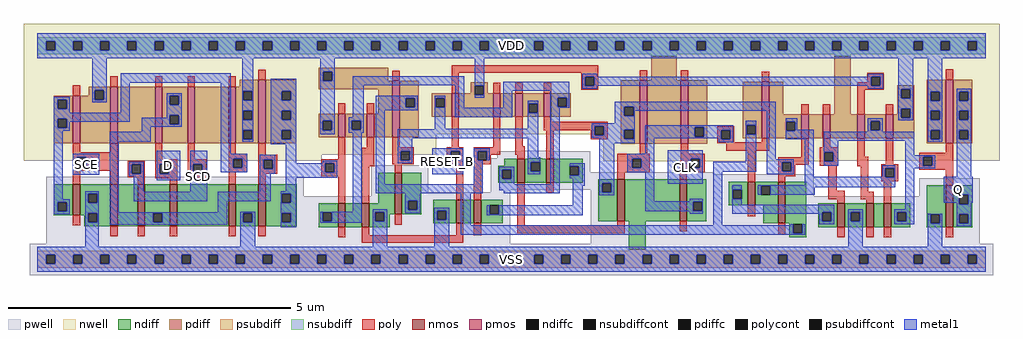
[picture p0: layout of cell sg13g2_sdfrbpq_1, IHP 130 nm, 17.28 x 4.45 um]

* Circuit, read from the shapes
.subckt sg13g2_sdfrbpq_1 VSS RESET_B D VDD CLK Q SCD SCE
XM1 VSS SCE n1 VSS sg13_lv_nmos w=0.55u l=0.13u
XM2 n2 SCE VSS VSS sg13_lv_nmos w=0.74u l=0.13u
XM3 n3 SCD n2 VSS sg13_lv_nmos w=0.74u l=0.13u
XM4 n4 D n3 VSS sg13_lv_nmos w=0.74u l=0.13u
XM5 VSS n1 n4 VSS sg13_lv_nmos w=0.74u l=0.13u
XM6 n5 n3 VSS VSS sg13_lv_nmos w=0.74u l=0.13u
XM7 n6 n5 n7 VSS sg13_lv_nmos w=0.42u l=0.13u
XM8 VSS RESET_B n6 VSS sg13_lv_nmos w=0.42u l=0.13u
XM9 n8 n9 VSS VSS sg13_lv_nmos w=0.74u l=0.13u
XM10 n10 RESET_B VSS VSS sg13_lv_nmos w=0.42u l=0.13u
XM11 n11 n8 n10 VSS sg13_lv_nmos w=0.42u l=0.13u
XM12 n9 n12 n7 VSS sg13_lv_nmos w=0.42u l=0.13u
XM13 n11 n13 n9 VSS sg13_lv_nmos w=0.42u l=0.13u
XM14 VSS n12 n13 VSS sg13_lv_nmos w=0.74u l=0.13u
XM15 n12 CLK VSS VSS sg13_lv_nmos w=0.74u l=0.13u
XM16 n14 n12 n15 VSS sg13_lv_nmos w=0.42u l=0.13u
XM17 n8 n13 n14 VSS sg13_lv_nmos w=0.74u l=0.13u
XM18 VSS n16 n15 VSS sg13_lv_nmos w=0.42u l=0.13u
XM19 n17 RESET_B VSS VSS sg13_lv_nmos w=0.42u l=0.13u
XM20 n16 n14 n17 VSS sg13_lv_nmos w=0.42u l=0.13u
XM21 Q n16 VSS VSS sg13_lv_nmos w=0.74u l=0.13u
XM22 VDD SCE n1 VDD sg13_lv_pmos w=0.84u l=0.13u
XM23 n18 SCE VDD VDD sg13_lv_pmos w=1u l=0.13u
XM24 n3 D n18 VDD sg13_lv_pmos w=1u l=0.13u
XM25 n19 SCD n3 VDD sg13_lv_pmos w=1u l=0.13u
XM26 VDD n1 n19 VDD sg13_lv_pmos w=1u l=0.13u
XM27 n5 n3 VDD VDD sg13_lv_pmos w=1.12u l=0.13u
XM28 n7 n5 VDD VDD sg13_lv_pmos w=0.42u l=0.13u
XM29 VDD RESET_B n7 VDD sg13_lv_pmos w=0.42u l=0.13u
XM30 n8 n9 VDD VDD sg13_lv_pmos w=1u l=0.13u
XM31 VDD RESET_B n9 VDD sg13_lv_pmos w=0.42u l=0.13u
XM32 n20 n8 VDD VDD sg13_lv_pmos w=0.42u l=0.13u
XM33 n9 n12 n20 VDD sg13_lv_pmos w=0.42u l=0.13u
XM34 n7 n13 n9 VDD sg13_lv_pmos w=0.42u l=0.13u
XM35 VDD n12 n13 VDD sg13_lv_pmos w=1.12u l=0.13u
XM36 n12 CLK VDD VDD sg13_lv_pmos w=1.12u l=0.13u
XM37 n14 n12 n8 VDD sg13_lv_pmos w=1u l=0.13u
XM38 n21 n13 n14 VDD sg13_lv_pmos w=0.42u l=0.13u
XM39 VDD n16 n21 VDD sg13_lv_pmos w=0.42u l=0.13u
XM40 n16 RESET_B VDD VDD sg13_lv_pmos w=0.42u l=0.13u
XM41 VDD n14 n16 VDD sg13_lv_pmos w=0.42u l=0.13u
XM42 Q n16 VDD VDD sg13_lv_pmos w=1.12u l=0.13u
.ends

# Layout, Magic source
magic
tech ihp-sg13g2
magscale 1 2
<< nwell >>
rect -48 443 3408 834
rect -48 370 1414 443
rect -48 350 1008 370
rect 2004 350 3408 443
rect 2004 348 2787 350
<< pwell >>
rect 1715 382 1815 384
rect 1629 358 1958 382
rect 33 224 945 292
rect 1183 237 1386 333
rect 1607 309 1958 358
rect 1607 301 2395 309
rect 1607 246 2750 301
rect 1607 237 1675 246
rect 1183 224 1675 237
rect 33 56 1675 224
rect 1961 224 2750 246
rect 3124 224 3338 288
rect 1961 56 3338 224
rect -26 -56 3386 56
<< nmos >>
rect 127 156 153 266
rect 259 118 285 266
rect 356 118 382 266
rect 470 118 496 266
rect 678 118 704 266
rect 784 118 810 266
rect 1066 114 1092 198
rect 1150 114 1176 198
rect 1266 159 1292 307
rect 1701 272 1727 356
rect 1803 272 1829 356
rect 1484 127 1510 211
rect 1547 127 1573 211
rect 2055 135 2081 283
rect 2275 135 2301 283
rect 2517 191 2543 275
rect 2624 127 2650 275
rect 2834 114 2860 198
rect 2936 114 2962 198
rect 2998 114 3024 198
rect 3218 114 3244 262
<< pmos >>
rect 127 412 153 580
rect 259 412 285 612
rect 418 412 444 612
rect 533 412 559 612
rect 678 412 704 612
rect 784 412 810 636
rect 1066 432 1092 516
rect 1168 432 1194 516
rect 1258 432 1284 632
rect 1468 505 1494 589
rect 1615 505 1641 589
rect 1693 505 1719 589
rect 1795 505 1821 589
rect 2135 410 2161 634
rect 2280 410 2306 634
rect 2567 429 2593 629
rect 2706 429 2732 513
rect 2782 429 2808 513
rect 2904 429 2930 513
rect 3006 429 3032 513
rect 3218 412 3244 636
<< ndiff >>
rect 59 202 127 266
rect 59 170 73 202
rect 105 170 127 202
rect 59 156 127 170
rect 153 232 259 266
rect 153 200 181 232
rect 213 200 259 232
rect 153 164 259 200
rect 153 156 181 164
rect 167 132 181 156
rect 213 132 259 164
rect 167 118 259 132
rect 285 118 356 266
rect 382 164 470 266
rect 382 132 412 164
rect 444 132 470 164
rect 382 118 470 132
rect 496 118 678 266
rect 704 164 784 266
rect 704 132 730 164
rect 762 132 784 164
rect 704 118 784 132
rect 810 232 919 266
rect 810 200 866 232
rect 898 200 919 232
rect 810 164 919 200
rect 1209 198 1266 307
rect 810 132 866 164
rect 898 132 919 164
rect 810 118 919 132
rect 998 167 1066 198
rect 998 135 1012 167
rect 1044 135 1066 167
rect 998 114 1066 135
rect 1092 114 1150 198
rect 1176 167 1266 198
rect 1176 135 1198 167
rect 1230 159 1266 167
rect 1292 208 1360 307
rect 1741 356 1789 358
rect 1655 332 1701 356
rect 1633 318 1701 332
rect 1633 286 1647 318
rect 1679 286 1701 318
rect 1633 272 1701 286
rect 1727 344 1803 356
rect 1727 312 1749 344
rect 1781 312 1803 344
rect 1727 272 1803 312
rect 1829 330 1932 356
rect 1829 298 1886 330
rect 1918 298 1932 330
rect 1829 272 1932 298
rect 1292 176 1314 208
rect 1346 176 1360 208
rect 1292 159 1360 176
rect 1403 173 1484 211
rect 1230 135 1249 159
rect 1176 114 1249 135
rect 1403 141 1417 173
rect 1449 141 1484 173
rect 1403 127 1484 141
rect 1510 127 1547 211
rect 1573 191 1649 211
rect 1573 159 1603 191
rect 1635 159 1649 191
rect 1573 127 1649 159
rect 1987 269 2055 283
rect 1987 237 2001 269
rect 2033 237 2055 269
rect 1987 135 2055 237
rect 2081 135 2275 283
rect 2301 204 2369 283
rect 2301 172 2323 204
rect 2355 172 2369 204
rect 2449 247 2517 275
rect 2449 215 2463 247
rect 2495 215 2517 247
rect 2449 191 2517 215
rect 2543 261 2624 275
rect 2543 229 2565 261
rect 2597 229 2624 261
rect 2543 191 2624 229
rect 2301 135 2369 172
rect 2096 36 2156 135
rect 2572 127 2624 191
rect 2650 127 2724 275
rect 2664 124 2724 127
rect 2664 92 2678 124
rect 2710 92 2724 124
rect 2766 167 2834 198
rect 2766 135 2780 167
rect 2812 135 2834 167
rect 2766 114 2834 135
rect 2860 167 2936 198
rect 2860 135 2882 167
rect 2914 135 2936 167
rect 2860 114 2936 135
rect 2962 114 2998 198
rect 3024 167 3092 198
rect 3024 135 3046 167
rect 3078 135 3092 167
rect 3024 114 3092 135
rect 3150 160 3218 262
rect 3150 128 3164 160
rect 3196 128 3218 160
rect 3150 114 3218 128
rect 3244 228 3312 262
rect 3244 196 3266 228
rect 3298 196 3312 228
rect 3244 160 3312 196
rect 3244 128 3266 160
rect 3298 128 3312 160
rect 3244 114 3312 128
rect 2664 78 2724 92
<< pdiff >>
rect 998 665 1243 679
rect 718 612 784 636
rect 183 598 259 612
rect 183 580 205 598
rect 59 566 127 580
rect 59 534 73 566
rect 105 534 127 566
rect 59 498 127 534
rect 59 466 73 498
rect 105 466 127 498
rect 59 412 127 466
rect 153 566 205 580
rect 237 566 259 598
rect 153 412 259 566
rect 285 412 418 612
rect 444 579 533 612
rect 444 547 470 579
rect 502 547 533 579
rect 444 511 533 547
rect 444 479 470 511
rect 502 479 533 511
rect 444 412 533 479
rect 559 412 678 612
rect 704 596 784 612
rect 704 564 730 596
rect 762 564 784 596
rect 704 526 784 564
rect 704 494 730 526
rect 762 494 784 526
rect 704 458 784 494
rect 704 426 730 458
rect 762 426 784 458
rect 704 412 784 426
rect 810 596 918 636
rect 998 633 1013 665
rect 1045 633 1243 665
rect 998 632 1243 633
rect 998 602 1258 632
rect 810 564 866 596
rect 898 564 918 596
rect 810 526 918 564
rect 810 494 866 526
rect 898 494 918 526
rect 1208 516 1258 602
rect 810 458 918 494
rect 810 426 866 458
rect 898 426 918 458
rect 998 490 1066 516
rect 998 458 1012 490
rect 1044 458 1066 490
rect 998 432 1066 458
rect 1092 491 1168 516
rect 1092 459 1114 491
rect 1146 459 1168 491
rect 1092 432 1168 459
rect 1194 432 1258 516
rect 1284 570 1352 632
rect 1536 614 1596 628
rect 1536 589 1550 614
rect 1284 538 1306 570
rect 1338 538 1352 570
rect 1284 432 1352 538
rect 1398 570 1468 589
rect 1398 538 1412 570
rect 1444 538 1468 570
rect 1398 505 1468 538
rect 1494 582 1550 589
rect 1582 589 1596 614
rect 2175 634 2266 720
rect 1582 582 1615 589
rect 1494 505 1615 582
rect 1641 505 1693 589
rect 1719 551 1795 589
rect 1719 519 1741 551
rect 1773 519 1795 551
rect 1719 505 1795 519
rect 1821 573 1889 589
rect 1821 541 1843 573
rect 1875 541 1889 573
rect 1821 505 1889 541
rect 2066 540 2135 634
rect 2066 508 2080 540
rect 2112 508 2135 540
rect 810 412 918 426
rect 2066 459 2135 508
rect 2066 427 2080 459
rect 2112 427 2135 459
rect 2066 410 2135 427
rect 2161 410 2280 634
rect 2306 467 2374 634
rect 2499 475 2567 629
rect 2306 435 2328 467
rect 2360 435 2374 467
rect 2306 410 2374 435
rect 2499 443 2513 475
rect 2545 443 2567 475
rect 2499 429 2567 443
rect 2593 513 2643 629
rect 2822 513 2882 720
rect 3046 602 3106 616
rect 3046 570 3060 602
rect 3092 570 3106 602
rect 3046 534 3106 570
rect 3046 513 3060 534
rect 2593 487 2706 513
rect 2593 455 2652 487
rect 2684 455 2706 487
rect 2593 429 2706 455
rect 2732 429 2782 513
rect 2808 429 2904 513
rect 2930 489 3006 513
rect 2930 457 2952 489
rect 2984 457 3006 489
rect 2930 429 3006 457
rect 3032 502 3060 513
rect 3092 502 3106 534
rect 3032 429 3106 502
rect 3150 594 3218 636
rect 3150 562 3164 594
rect 3196 562 3218 594
rect 3150 526 3218 562
rect 3150 494 3164 526
rect 3196 494 3218 526
rect 3150 458 3218 494
rect 3150 426 3164 458
rect 3196 426 3218 458
rect 3150 412 3218 426
rect 3244 594 3312 636
rect 3244 562 3266 594
rect 3298 562 3312 594
rect 3244 526 3312 562
rect 3244 494 3266 526
rect 3298 494 3312 526
rect 3244 458 3312 494
rect 3244 426 3266 458
rect 3298 426 3312 458
rect 3244 412 3312 426
<< ndiffc >>
rect 73 170 105 202
rect 181 200 213 232
rect 181 132 213 164
rect 412 132 444 164
rect 730 132 762 164
rect 866 200 898 232
rect 866 132 898 164
rect 1012 135 1044 167
rect 1198 135 1230 167
rect 1647 286 1679 318
rect 1749 312 1781 344
rect 1886 298 1918 330
rect 1314 176 1346 208
rect 1417 141 1449 173
rect 1603 159 1635 191
rect 2001 237 2033 269
rect 2323 172 2355 204
rect 2463 215 2495 247
rect 2565 229 2597 261
rect 2678 92 2710 124
rect 2780 135 2812 167
rect 2882 135 2914 167
rect 3046 135 3078 167
rect 3164 128 3196 160
rect 3266 196 3298 228
rect 3266 128 3298 160
<< pdiffc >>
rect 73 534 105 566
rect 73 466 105 498
rect 205 566 237 598
rect 470 547 502 579
rect 470 479 502 511
rect 730 564 762 596
rect 730 494 762 526
rect 730 426 762 458
rect 1013 633 1045 665
rect 866 564 898 596
rect 866 494 898 526
rect 866 426 898 458
rect 1012 458 1044 490
rect 1114 459 1146 491
rect 1306 538 1338 570
rect 1412 538 1444 570
rect 1550 582 1582 614
rect 1741 519 1773 551
rect 1843 541 1875 573
rect 2080 508 2112 540
rect 2080 427 2112 459
rect 2328 435 2360 467
rect 2513 443 2545 475
rect 3060 570 3092 602
rect 2652 455 2684 487
rect 2952 457 2984 489
rect 3060 502 3092 534
rect 3164 562 3196 594
rect 3164 494 3196 526
rect 3164 426 3196 458
rect 3266 562 3298 594
rect 3266 494 3298 526
rect 3266 426 3298 458
<< psubdiff >>
rect 2096 30 2156 36
rect 0 16 3360 30
rect 0 -16 32 16
rect 64 -16 128 16
rect 160 -16 224 16
rect 256 -16 320 16
rect 352 -16 416 16
rect 448 -16 512 16
rect 544 -16 608 16
rect 640 -16 704 16
rect 736 -16 800 16
rect 832 -16 896 16
rect 928 -16 992 16
rect 1024 -16 1088 16
rect 1120 -16 1184 16
rect 1216 -16 1280 16
rect 1312 -16 1376 16
rect 1408 -16 1472 16
rect 1504 -16 1568 16
rect 1600 -16 1664 16
rect 1696 -16 1760 16
rect 1792 -16 1856 16
rect 1888 -16 1952 16
rect 1984 -16 2048 16
rect 2080 -16 2144 16
rect 2176 -16 2240 16
rect 2272 -16 2336 16
rect 2368 -16 2432 16
rect 2464 -16 2528 16
rect 2560 -16 2624 16
rect 2656 -16 2720 16
rect 2752 -16 2816 16
rect 2848 -16 2912 16
rect 2944 -16 3008 16
rect 3040 -16 3104 16
rect 3136 -16 3200 16
rect 3232 -16 3296 16
rect 3328 -16 3360 16
rect 0 -30 3360 -16
<< nsubdiff >>
rect 0 772 3360 786
rect 0 740 32 772
rect 64 740 128 772
rect 160 740 224 772
rect 256 740 320 772
rect 352 740 416 772
rect 448 740 512 772
rect 544 740 608 772
rect 640 740 704 772
rect 736 740 800 772
rect 832 740 896 772
rect 928 740 992 772
rect 1024 740 1088 772
rect 1120 740 1184 772
rect 1216 740 1280 772
rect 1312 740 1376 772
rect 1408 740 1472 772
rect 1504 740 1568 772
rect 1600 740 1664 772
rect 1696 740 1760 772
rect 1792 740 1856 772
rect 1888 740 1952 772
rect 1984 740 2048 772
rect 2080 740 2144 772
rect 2176 740 2240 772
rect 2272 740 2336 772
rect 2368 740 2432 772
rect 2464 740 2528 772
rect 2560 740 2624 772
rect 2656 740 2720 772
rect 2752 740 2816 772
rect 2848 740 2912 772
rect 2944 740 3008 772
rect 3040 740 3104 772
rect 3136 740 3200 772
rect 3232 740 3296 772
rect 3328 740 3360 772
rect 0 726 3360 740
rect 2175 720 2266 726
rect 2822 720 2882 726
<< psubdiffcont >>
rect 32 -16 64 16
rect 128 -16 160 16
rect 224 -16 256 16
rect 320 -16 352 16
rect 416 -16 448 16
rect 512 -16 544 16
rect 608 -16 640 16
rect 704 -16 736 16
rect 800 -16 832 16
rect 896 -16 928 16
rect 992 -16 1024 16
rect 1088 -16 1120 16
rect 1184 -16 1216 16
rect 1280 -16 1312 16
rect 1376 -16 1408 16
rect 1472 -16 1504 16
rect 1568 -16 1600 16
rect 1664 -16 1696 16
rect 1760 -16 1792 16
rect 1856 -16 1888 16
rect 1952 -16 1984 16
rect 2048 -16 2080 16
rect 2144 -16 2176 16
rect 2240 -16 2272 16
rect 2336 -16 2368 16
rect 2432 -16 2464 16
rect 2528 -16 2560 16
rect 2624 -16 2656 16
rect 2720 -16 2752 16
rect 2816 -16 2848 16
rect 2912 -16 2944 16
rect 3008 -16 3040 16
rect 3104 -16 3136 16
rect 3200 -16 3232 16
rect 3296 -16 3328 16
<< nsubdiffcont >>
rect 32 740 64 772
rect 128 740 160 772
rect 224 740 256 772
rect 320 740 352 772
rect 416 740 448 772
rect 512 740 544 772
rect 608 740 640 772
rect 704 740 736 772
rect 800 740 832 772
rect 896 740 928 772
rect 992 740 1024 772
rect 1088 740 1120 772
rect 1184 740 1216 772
rect 1280 740 1312 772
rect 1376 740 1408 772
rect 1472 740 1504 772
rect 1568 740 1600 772
rect 1664 740 1696 772
rect 1760 740 1792 772
rect 1856 740 1888 772
rect 1952 740 1984 772
rect 2048 740 2080 772
rect 2144 740 2176 772
rect 2240 740 2272 772
rect 2336 740 2368 772
rect 2432 740 2464 772
rect 2528 740 2560 772
rect 2624 740 2656 772
rect 2720 740 2752 772
rect 2816 740 2848 772
rect 2912 740 2944 772
rect 3008 740 3040 772
rect 3104 740 3136 772
rect 3200 740 3232 772
rect 3296 740 3328 772
<< poly >>
rect 127 580 153 616
rect 259 612 285 648
rect 418 612 444 648
rect 533 612 559 648
rect 678 612 704 648
rect 784 636 810 672
rect 1258 632 1284 668
rect 1468 661 1987 687
rect 1066 516 1092 552
rect 1168 516 1194 552
rect 1468 589 1494 661
rect 1927 647 1987 661
rect 1615 589 1641 625
rect 1693 589 1719 625
rect 1795 589 1821 625
rect 1927 615 1941 647
rect 1973 615 1987 647
rect 2135 634 2161 670
rect 2280 634 2306 670
rect 1927 601 1987 615
rect 127 380 153 412
rect 259 380 285 412
rect 127 362 285 380
rect 127 330 141 362
rect 173 330 285 362
rect 418 354 444 412
rect 533 354 559 412
rect 678 374 704 412
rect 678 356 744 374
rect 127 314 285 330
rect 127 266 153 314
rect 259 266 285 314
rect 322 336 382 350
rect 322 304 336 336
rect 368 304 382 336
rect 322 290 382 304
rect 356 266 382 290
rect 418 336 496 354
rect 418 304 434 336
rect 466 304 496 336
rect 418 288 496 304
rect 533 336 599 354
rect 533 304 553 336
rect 585 304 599 336
rect 533 288 599 304
rect 678 324 694 356
rect 726 324 744 356
rect 678 308 744 324
rect 784 370 810 412
rect 784 352 850 370
rect 1066 354 1092 432
rect 1168 396 1194 432
rect 784 320 802 352
rect 834 320 850 352
rect 470 266 496 288
rect 678 266 704 308
rect 784 304 850 320
rect 1007 340 1092 354
rect 1007 308 1021 340
rect 1053 308 1092 340
rect 784 266 810 304
rect 1007 294 1092 308
rect 127 120 153 156
rect 1066 198 1092 294
rect 1150 330 1194 396
rect 1258 397 1284 432
rect 1468 397 1494 505
rect 1615 397 1641 505
rect 1258 383 1333 397
rect 1258 351 1287 383
rect 1319 351 1333 383
rect 1258 337 1333 351
rect 1450 383 1510 397
rect 1450 351 1464 383
rect 1496 351 1510 383
rect 1450 337 1510 351
rect 1150 198 1176 330
rect 1266 307 1292 337
rect 259 82 285 118
rect 356 82 382 118
rect 470 82 496 118
rect 678 82 704 118
rect 784 82 810 118
rect 1484 211 1510 337
rect 1547 383 1641 397
rect 1547 351 1561 383
rect 1593 371 1641 383
rect 1693 401 1719 505
rect 1795 488 1821 505
rect 1795 472 2020 488
rect 1795 458 1974 472
rect 1693 371 1727 401
rect 1593 351 1607 371
rect 1701 356 1727 371
rect 1803 356 1829 458
rect 1960 440 1974 458
rect 2006 440 2020 472
rect 1960 425 2020 440
rect 2567 629 2593 665
rect 2409 457 2469 471
rect 2409 425 2423 457
rect 2455 425 2469 457
rect 2706 513 2732 549
rect 2782 513 2808 549
rect 2939 647 2999 661
rect 2939 628 2953 647
rect 2904 615 2953 628
rect 2985 615 2999 647
rect 3218 636 3244 673
rect 2904 601 2999 615
rect 2904 513 2930 601
rect 3006 513 3032 549
rect 2409 414 2469 425
rect 2567 414 2593 429
rect 2409 411 2593 414
rect 2135 374 2161 410
rect 2280 374 2306 410
rect 2440 384 2593 411
rect 2055 357 2170 374
rect 1547 337 1607 351
rect 1547 211 1573 337
rect 2055 325 2107 357
rect 2139 325 2170 357
rect 2280 357 2364 374
rect 2280 338 2315 357
rect 2055 308 2170 325
rect 2275 325 2315 338
rect 2347 325 2364 357
rect 2275 308 2364 325
rect 2055 283 2081 308
rect 2275 283 2301 308
rect 1266 123 1292 159
rect 1066 78 1092 114
rect 1150 86 1176 114
rect 1484 86 1510 127
rect 1150 59 1510 86
rect 1547 85 1573 127
rect 1701 121 1727 272
rect 1803 236 1829 272
rect 2517 275 2543 384
rect 2706 361 2732 429
rect 2782 397 2808 429
rect 2624 344 2732 361
rect 2624 312 2638 344
rect 2670 335 2732 344
rect 2771 380 2837 397
rect 2771 348 2788 380
rect 2820 348 2837 380
rect 2670 312 2684 335
rect 2771 331 2837 348
rect 2904 363 2930 429
rect 2624 295 2684 312
rect 2624 275 2650 295
rect 2517 153 2543 191
rect 2055 121 2081 135
rect 1701 93 2081 121
rect 2275 99 2301 135
rect 2801 243 2831 331
rect 2904 330 2943 363
rect 3006 337 3032 429
rect 3218 378 3244 412
rect 3124 364 3244 378
rect 2801 213 2860 243
rect 2834 198 2860 213
rect 2917 239 2943 330
rect 2990 323 3050 337
rect 2990 291 3004 323
rect 3036 291 3050 323
rect 3124 332 3138 364
rect 3170 332 3244 364
rect 3124 318 3244 332
rect 2990 277 3050 291
rect 2917 212 2962 239
rect 2936 198 2962 212
rect 2998 198 3024 277
rect 3218 262 3244 318
rect 2624 89 2650 127
rect 2834 78 2860 114
rect 2936 78 2962 114
rect 2998 78 3024 114
rect 3218 78 3244 114
<< polycont >>
rect 1941 615 1973 647
rect 141 330 173 362
rect 336 304 368 336
rect 434 304 466 336
rect 553 304 585 336
rect 694 324 726 356
rect 802 320 834 352
rect 1021 308 1053 340
rect 1287 351 1319 383
rect 1464 351 1496 383
rect 1561 351 1593 383
rect 1974 440 2006 472
rect 2423 425 2455 457
rect 2953 615 2985 647
rect 2107 325 2139 357
rect 2315 325 2347 357
rect 2638 312 2670 344
rect 2788 348 2820 380
rect 3004 291 3036 323
rect 3138 332 3170 364
<< metal1 >>
rect 0 772 3360 800
rect 0 740 32 772
rect 64 740 128 772
rect 160 740 224 772
rect 256 740 320 772
rect 352 740 416 772
rect 448 740 512 772
rect 544 740 608 772
rect 640 740 704 772
rect 736 740 800 772
rect 832 740 896 772
rect 928 740 992 772
rect 1024 740 1088 772
rect 1120 740 1184 772
rect 1216 740 1280 772
rect 1312 740 1376 772
rect 1408 740 1472 772
rect 1504 740 1568 772
rect 1600 740 1664 772
rect 1696 740 1760 772
rect 1792 740 1856 772
rect 1888 740 1952 772
rect 1984 740 2048 772
rect 2080 740 2144 772
rect 2176 740 2240 772
rect 2272 740 2336 772
rect 2368 740 2432 772
rect 2464 740 2528 772
rect 2560 740 2624 772
rect 2656 740 2720 772
rect 2752 740 2816 772
rect 2848 740 2912 772
rect 2944 740 3008 772
rect 3040 740 3104 772
rect 3136 740 3200 772
rect 3232 740 3296 772
rect 3328 740 3360 772
rect 0 712 3360 740
rect 195 598 247 712
rect 59 566 115 576
rect 59 534 73 566
rect 105 534 115 566
rect 195 566 205 598
rect 237 566 247 598
rect 195 556 247 566
rect 296 625 685 659
rect 59 520 115 534
rect 296 520 328 625
rect 59 498 328 520
rect 460 579 512 589
rect 460 547 470 579
rect 502 547 512 579
rect 460 511 512 547
rect 460 501 470 511
rect 59 466 73 498
rect 105 488 328 498
rect 105 466 115 488
rect 59 456 115 466
rect 371 479 470 501
rect 502 479 512 511
rect 371 469 512 479
rect 59 212 91 456
rect 371 452 403 469
rect 257 416 403 452
rect 127 362 221 374
rect 127 330 141 362
rect 173 330 221 362
rect 127 300 221 330
rect 171 232 218 242
rect 59 202 115 212
rect 59 170 73 202
rect 105 170 115 202
rect 59 160 115 170
rect 171 200 181 232
rect 213 200 218 232
rect 171 164 218 200
rect 171 132 181 164
rect 213 132 218 164
rect 171 44 218 132
rect 257 166 290 416
rect 326 336 378 346
rect 326 304 336 336
rect 368 304 378 336
rect 326 294 378 304
rect 342 240 378 294
rect 424 336 507 384
rect 424 304 434 336
rect 466 304 507 336
rect 424 280 507 304
rect 543 336 603 384
rect 543 304 553 336
rect 585 304 603 336
rect 650 374 685 625
rect 726 596 766 712
rect 1003 665 1054 712
rect 726 564 730 596
rect 762 564 766 596
rect 726 526 766 564
rect 726 494 730 526
rect 762 494 766 526
rect 726 458 766 494
rect 726 426 730 458
rect 762 426 766 458
rect 726 416 766 426
rect 827 596 918 640
rect 827 564 866 596
rect 898 564 918 596
rect 827 526 918 564
rect 827 494 866 526
rect 898 494 918 526
rect 827 458 918 494
rect 827 426 866 458
rect 898 426 918 458
rect 1003 633 1013 665
rect 1045 633 1054 665
rect 1003 490 1054 633
rect 1118 616 1513 648
rect 1118 504 1156 616
rect 1003 458 1012 490
rect 1044 458 1054 490
rect 1003 443 1054 458
rect 1104 491 1156 504
rect 1104 459 1114 491
rect 1146 459 1156 491
rect 1104 448 1156 459
rect 1200 570 1348 580
rect 1200 538 1306 570
rect 1338 538 1348 570
rect 1200 528 1348 538
rect 1409 570 1445 580
rect 1409 538 1412 570
rect 1444 538 1445 570
rect 827 408 918 426
rect 650 356 744 374
rect 650 324 694 356
rect 726 324 744 356
rect 650 308 744 324
rect 789 352 844 370
rect 789 320 802 352
rect 834 320 844 352
rect 543 240 603 304
rect 789 304 844 320
rect 880 340 918 408
rect 1011 340 1063 350
rect 880 308 1021 340
rect 1053 308 1063 340
rect 789 240 827 304
rect 880 289 1063 308
rect 880 242 918 289
rect 342 206 603 240
rect 639 206 827 240
rect 863 232 918 242
rect 639 166 673 206
rect 863 200 866 232
rect 898 200 918 232
rect 257 164 673 166
rect 257 132 412 164
rect 444 132 673 164
rect 257 122 673 132
rect 720 164 772 169
rect 720 132 730 164
rect 762 132 772 164
rect 720 44 772 132
rect 863 164 918 200
rect 1118 168 1150 448
rect 1200 266 1232 528
rect 1409 463 1445 538
rect 1481 536 1513 616
rect 1549 614 1583 712
rect 1931 647 1983 657
rect 2942 647 2996 657
rect 1549 582 1550 614
rect 1582 582 1583 614
rect 1549 572 1583 582
rect 1651 597 1885 629
rect 1931 615 1941 647
rect 1973 615 2953 647
rect 2985 615 2996 647
rect 1931 605 1983 615
rect 2942 605 2996 615
rect 1651 536 1683 597
rect 1818 573 1885 597
rect 1481 504 1683 536
rect 1738 551 1775 561
rect 1738 519 1741 551
rect 1773 519 1775 551
rect 1738 463 1775 519
rect 1409 461 1775 463
rect 1277 429 1775 461
rect 1277 383 1329 429
rect 1277 351 1287 383
rect 1319 351 1329 383
rect 1277 341 1329 351
rect 1400 383 1510 393
rect 1400 351 1464 383
rect 1496 351 1510 383
rect 1400 302 1510 351
rect 1547 383 1603 393
rect 1547 351 1561 383
rect 1593 351 1603 383
rect 1738 362 1775 429
rect 1818 541 1843 573
rect 1875 541 1885 573
rect 3050 602 3102 712
rect 3050 570 3060 602
rect 3092 570 3102 602
rect 1818 537 1885 541
rect 2045 540 2615 558
rect 1547 266 1579 351
rect 1738 344 1782 362
rect 1200 234 1579 266
rect 1637 318 1689 328
rect 1637 286 1647 318
rect 1679 286 1689 318
rect 1738 312 1749 344
rect 1781 312 1782 344
rect 1738 302 1782 312
rect 1637 266 1689 286
rect 1818 266 1850 537
rect 2045 508 2080 540
rect 2112 526 2615 540
rect 2112 508 2117 526
rect 2045 482 2117 508
rect 1964 472 2117 482
rect 2509 475 2547 490
rect 1964 440 1974 472
rect 2006 459 2117 472
rect 2006 440 2080 459
rect 1964 430 2080 440
rect 1991 427 2080 430
rect 2112 427 2117 459
rect 1991 412 2117 427
rect 2153 467 2465 474
rect 2153 435 2328 467
rect 2360 457 2465 467
rect 2360 435 2423 457
rect 2153 429 2423 435
rect 1886 330 1939 340
rect 1918 298 1939 330
rect 1886 288 1939 298
rect 1637 245 1850 266
rect 1653 234 1850 245
rect 1897 260 1939 288
rect 1991 269 2043 412
rect 2153 374 2185 429
rect 2413 425 2423 429
rect 2455 425 2465 457
rect 2413 415 2465 425
rect 2509 443 2513 475
rect 2545 443 2547 475
rect 2090 357 2185 374
rect 2090 325 2107 357
rect 2139 325 2185 357
rect 2090 308 2185 325
rect 1304 208 1356 234
rect 863 132 866 164
rect 898 132 918 164
rect 863 114 918 132
rect 1002 167 1150 168
rect 1002 135 1012 167
rect 1044 135 1150 167
rect 1002 129 1150 135
rect 1188 167 1240 177
rect 1188 135 1198 167
rect 1230 135 1240 167
rect 1304 176 1314 208
rect 1346 176 1356 208
rect 1304 163 1356 176
rect 1407 173 1459 183
rect 1188 44 1240 135
rect 1407 141 1417 173
rect 1449 141 1459 173
rect 1407 44 1459 141
rect 1501 121 1535 234
rect 1897 192 1933 260
rect 1991 237 2001 269
rect 2033 237 2043 269
rect 1991 227 2043 237
rect 1593 191 1933 192
rect 1593 159 1603 191
rect 1635 159 1933 191
rect 2153 205 2185 308
rect 2233 357 2358 387
rect 2233 325 2315 357
rect 2347 325 2358 357
rect 2509 345 2547 443
rect 2233 267 2358 325
rect 2394 311 2547 345
rect 2583 354 2615 526
rect 3050 534 3102 570
rect 3050 502 3060 534
rect 3092 502 3102 534
rect 2651 487 2692 500
rect 2651 455 2652 487
rect 2684 459 2692 487
rect 2942 489 2994 499
rect 3050 492 3102 502
rect 3154 594 3206 712
rect 3154 562 3164 594
rect 3196 562 3206 594
rect 3154 526 3206 562
rect 3154 494 3164 526
rect 3196 494 3206 526
rect 2684 455 2750 459
rect 2651 425 2750 455
rect 2942 457 2952 489
rect 2984 457 2994 489
rect 2942 452 2994 457
rect 3154 458 3206 494
rect 2583 344 2680 354
rect 2583 312 2638 344
rect 2670 312 2680 344
rect 2311 205 2358 214
rect 2153 204 2358 205
rect 2153 172 2323 204
rect 2355 172 2358 204
rect 2153 171 2358 172
rect 2311 162 2358 171
rect 1593 157 1933 159
rect 2394 121 2426 311
rect 2583 302 2680 312
rect 2718 293 2750 425
rect 2786 420 3106 452
rect 2786 380 2837 420
rect 2786 348 2788 380
rect 2820 348 2837 380
rect 2786 331 2837 348
rect 3074 368 3106 420
rect 3154 426 3164 458
rect 3196 426 3206 458
rect 3154 416 3206 426
rect 3256 594 3308 604
rect 3256 562 3266 594
rect 3298 562 3308 594
rect 3256 526 3308 562
rect 3256 494 3266 526
rect 3298 494 3308 526
rect 3256 458 3308 494
rect 3256 426 3266 458
rect 3298 426 3308 458
rect 3074 364 3180 368
rect 2993 323 3038 333
rect 2993 293 3004 323
rect 2718 291 3004 293
rect 3036 291 3038 323
rect 2718 263 3038 291
rect 2462 247 2496 262
rect 2462 215 2463 247
rect 2495 215 2496 247
rect 2552 261 3038 263
rect 2552 229 2565 261
rect 2597 255 3038 261
rect 3074 332 3138 364
rect 3170 332 3180 364
rect 3074 322 3180 332
rect 2597 229 2754 255
rect 2462 193 2496 215
rect 2462 167 2822 193
rect 3074 177 3106 322
rect 3256 293 3308 426
rect 3211 228 3314 293
rect 3211 200 3266 228
rect 2462 161 2780 167
rect 2770 135 2780 161
rect 2812 135 2822 167
rect 2770 125 2822 135
rect 2872 167 2924 177
rect 2872 135 2882 167
rect 2914 135 2924 167
rect 2668 124 2720 125
rect 2668 121 2678 124
rect 1501 92 2678 121
rect 2710 92 2720 124
rect 1501 88 2720 92
rect 2872 44 2924 135
rect 3036 167 3106 177
rect 3036 135 3046 167
rect 3078 135 3106 167
rect 3256 196 3266 200
rect 3298 200 3314 228
rect 3298 196 3308 200
rect 3036 125 3106 135
rect 3154 160 3206 162
rect 3154 128 3164 160
rect 3196 128 3206 160
rect 3154 44 3206 128
rect 3256 160 3308 196
rect 3256 128 3266 160
rect 3298 128 3308 160
rect 3256 118 3308 128
rect 0 16 3360 44
rect 0 -16 32 16
rect 64 -16 128 16
rect 160 -16 224 16
rect 256 -16 320 16
rect 352 -16 416 16
rect 448 -16 512 16
rect 544 -16 608 16
rect 640 -16 704 16
rect 736 -16 800 16
rect 832 -16 896 16
rect 928 -16 992 16
rect 1024 -16 1088 16
rect 1120 -16 1184 16
rect 1216 -16 1280 16
rect 1312 -16 1376 16
rect 1408 -16 1472 16
rect 1504 -16 1568 16
rect 1600 -16 1664 16
rect 1696 -16 1760 16
rect 1792 -16 1856 16
rect 1888 -16 1952 16
rect 1984 -16 2048 16
rect 2080 -16 2144 16
rect 2176 -16 2240 16
rect 2272 -16 2336 16
rect 2368 -16 2432 16
rect 2464 -16 2528 16
rect 2560 -16 2624 16
rect 2656 -16 2720 16
rect 2752 -16 2816 16
rect 2848 -16 2912 16
rect 2944 -16 3008 16
rect 3040 -16 3104 16
rect 3136 -16 3200 16
rect 3232 -16 3296 16
rect 3328 -16 3360 16
rect 0 -44 3360 -16
<< labels >>
flabel metal1 s 0 -44 3360 44 0 FreeSans 400 0 0 0 VSS
port 2 nsew
flabel metal1 s 1400 302 1510 393 0 FreeSans 800 0 0 0 RESET_B
port 3 nsew
flabel metal1 s 424 280 507 384 0 FreeSans 800 0 0 0 D
port 4 nsew
flabel metal1 s 0 712 3360 800 0 FreeSans 400 0 0 0 VDD
port 5 nsew
flabel metal1 s 2233 267 2358 387 0 FreeSans 800 0 0 0 CLK
port 6 nsew
flabel metal1 s 3211 200 3314 293 0 FreeSans 800 0 0 0 Q
port 7 nsew
flabel metal1 s 543 206 603 384 0 FreeSans 800 0 0 0 SCD
port 8 nsew
flabel metal1 s 127 300 221 374 0 FreeSans 800 0 0 0 SCE
port 9 nsew
<< properties >>
string FIXED_BBOX 0 0 3360 756
<< end >>
